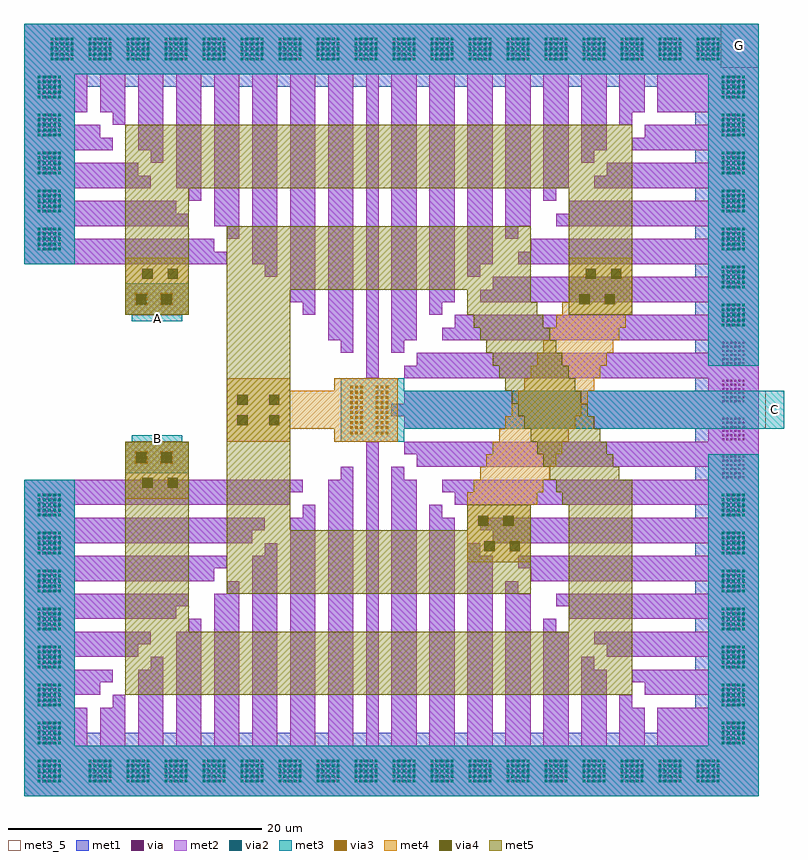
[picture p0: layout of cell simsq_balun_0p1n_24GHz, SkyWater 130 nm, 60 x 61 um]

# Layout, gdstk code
import gdstk
lib = gdstk.Library(unit=1e-6, precision=1e-09)
def R(c, l, rs):  # rectangles x0, y0, x1, y1
    for r in rs: c.add(gdstk.rectangle(r[:2], r[2:], *l))
def A(c, l, x, y, w, h, nx, ny, dx, dy):  # array of equal rectangles
    R(c, l, [(x+i*dx, y+j*dy, x+i*dx+w, y+j*dy+h) for i in range(nx) for j in range(ny)])
met1 = (68, 20)
via = (68, 44)
met2 = (69, 20)
via2 = (69, 44)
met3_5 = (70, 5)
met3 = (70, 20)
via3 = (70, 44)
met4 = (71, 20)
via4 = (71, 44)
met5 = (72, 20)

simsq_balun_0p1n_24ghz = lib.new_cell('simsq_balun_0p1n_24GHz')
A(simsq_balun_0p1n_24ghz, met1, -10, -7, 4, 1, 1, 6, 0, 3)
A(simsq_balun_0p1n_24ghz, met1, 43, -7, 5, 1, 1, 8, 0, 3)
A(simsq_balun_0p1n_24ghz, met1, 20, 13, 28, 1, 1, 4, 0, 2)
A(simsq_balun_0p1n_24ghz, met1, 43, 18, 5, 1, 1, 8, 0, 3)
A(simsq_balun_0p1n_24ghz, met1, -10, 30, 4, 1, 1, 4, 0, 3)
R(simsq_balun_0p1n_24ghz, met1, [(-10,-14,48,-9), (-10,-9,-5,-7), (-4,-9,-2,-7), (-1,-9,1,-4), (2,-9,4,-1), (5,-9,7,2), (8,-9,10,5), (11,-9,13,8), (14,-9,16,11), (17,-9,18,14), (19,-9,21,11), (22,-9,24,8), (25,-9,27,5), (28,-9,30,2), (31,-9,33,-1), (34,-9,36,-4), (37,-9,39,-7), (40,-9,48,-7), (-3,-7,-2,-6), (37,-7,38,-6), (-10,-6,-4,-5), (39,-6,48,-5), (-10,-5,-3,-4), (38,-5,48,-4), (0,-4,1,-3), (34,-4,35,-3), (-10,-3,-1,-2), (36,-3,48,-2), (-10,-2,0,-1), (35,-2,48,-1), (3,-1,4,0), (31,-1,32,0), (-10,0,2,1), (33,0,48,1), (-10,1,3,2), (32,1,48,2), (6,2,7,3), (28,2,29,3), (-10,3,5,4), (30,3,48,4), (-10,4,6,5), (29,4,48,5), (9,5,10,6), (25,5,26,6), (-10,6,8,7), (27,6,48,7), (-10,7,9,8), (26,7,48,8), (12,8,13,9), (22,8,23,9), (-10,9,11,10), (24,9,48,10), (-10,10,12,11), (23,10,48,11), (15,11,16,12), (19,11,20,12), (21,12,48,13), (19,16,48,17), (17,19,18,42), (21,20,48,21), (15,21,16,22), (19,21,20,22), (14,22,16,42), (19,22,21,42), (23,22,48,23), (24,23,48,24), (12,24,13,25), (22,24,23,25), (11,25,13,42), (22,25,24,42), (26,25,48,26), (27,26,48,27), (9,27,10,28), (25,27,26,28), (-10,28,6,29), (8,28,10,42), (25,28,27,42), (29,28,48,29), (-10,29,5,30), (30,29,48,30), (6,30,7,31), (28,30,29,31), (-10,31,3,32), (5,31,7,42), (28,31,30,42), (32,31,48,32), (-10,32,2,33), (33,32,48,33), (3,33,4,34), (31,33,32,34), (-10,34,0,35), (2,34,4,42), (31,34,33,42), (35,34,48,35), (-10,35,-1,36), (36,35,48,36), (0,36,1,37), (34,36,35,37), (-10,37,-3,38), (-1,37,1,42), (34,37,36,42), (38,37,48,38), (-10,38,-4,39), (39,38,48,39), (-3,39,-2,40), (37,39,38,40), (-10,40,-5,42), (-4,40,-2,42), (37,40,39,42), (40,40,48,42), (-10,42,48,47)])
A(simsq_balun_0p1n_24ghz, via, -8.875, -12.875, 0.15, 0.15, 6, 6, 0.32, 0.32)
A(simsq_balun_0p1n_24ghz, via, -4.875, -12.875, 0.15, 0.15, 6, 6, 0.32, 0.32)
A(simsq_balun_0p1n_24ghz, via, -1.875, -12.875, 0.15, 0.15, 6, 6, 0.32, 0.32)
A(simsq_balun_0p1n_24ghz, via, 1.125, -12.875, 0.15, 0.15, 6, 6, 0.32, 0.32)
A(simsq_balun_0p1n_24ghz, via, 4.125, -12.875, 0.15, 0.15, 6, 6, 0.32, 0.32)
A(simsq_balun_0p1n_24ghz, via, 7.125, -12.875, 0.15, 0.15, 6, 6, 0.32, 0.32)
A(simsq_balun_0p1n_24ghz, via, 10.125, -12.875, 0.15, 0.15, 6, 6, 0.32, 0.32)
A(simsq_balun_0p1n_24ghz, via, 13.125, -12.875, 0.15, 0.15, 6, 6, 0.32, 0.32)
A(simsq_balun_0p1n_24ghz, via, 16.125, -12.875, 0.15, 0.15, 6, 6, 0.32, 0.32)
A(simsq_balun_0p1n_24ghz, via, 19.125, -12.875, 0.15, 0.15, 6, 6, 0.32, 0.32)
A(simsq_balun_0p1n_24ghz, via, 22.125, -12.875, 0.15, 0.15, 6, 6, 0.32, 0.32)
A(simsq_balun_0p1n_24ghz, via, 25.125, -12.875, 0.15, 0.15, 6, 6, 0.32, 0.32)
A(simsq_balun_0p1n_24ghz, via, 28.125, -12.875, 0.15, 0.15, 6, 6, 0.32, 0.32)
A(simsq_balun_0p1n_24ghz, via, 31.125, -12.875, 0.15, 0.15, 6, 6, 0.32, 0.32)
A(simsq_balun_0p1n_24ghz, via, 34.125, -12.875, 0.15, 0.15, 6, 6, 0.32, 0.32)
A(simsq_balun_0p1n_24ghz, via, 37.125, -12.875, 0.15, 0.15, 6, 6, 0.32, 0.32)
A(simsq_balun_0p1n_24ghz, via, 40.125, -12.875, 0.15, 0.15, 6, 6, 0.32, 0.32)
A(simsq_balun_0p1n_24ghz, via, 43.125, -12.875, 0.15, 0.15, 6, 6, 0.32, 0.32)
A(simsq_balun_0p1n_24ghz, via, -8.875, -9.875, 0.15, 0.15, 6, 6, 0.32, 0.32)
A(simsq_balun_0p1n_24ghz, via, 45.125, -9.875, 0.15, 0.15, 6, 6, 0.32, 0.32)
A(simsq_balun_0p1n_24ghz, via, -8.875, -6.875, 0.15, 0.15, 6, 6, 0.32, 0.32)
A(simsq_balun_0p1n_24ghz, via, 45.125, -6.875, 0.15, 0.15, 6, 6, 0.32, 0.32)
A(simsq_balun_0p1n_24ghz, via, -8.875, -3.875, 0.15, 0.15, 6, 6, 0.32, 0.32)
A(simsq_balun_0p1n_24ghz, via, 45.125, -3.875, 0.15, 0.15, 6, 6, 0.32, 0.32)
A(simsq_balun_0p1n_24ghz, via, -8.875, -0.875, 0.15, 0.15, 6, 6, 0.32, 0.32)
A(simsq_balun_0p1n_24ghz, via, 45.125, -0.875, 0.15, 0.15, 6, 6, 0.32, 0.32)
A(simsq_balun_0p1n_24ghz, via, -8.875, 2.125, 0.15, 0.15, 6, 6, 0.32, 0.32)
A(simsq_balun_0p1n_24ghz, via, 45.125, 2.125, 0.15, 0.15, 6, 6, 0.32, 0.32)
A(simsq_balun_0p1n_24ghz, via, -8.875, 5.125, 0.15, 0.15, 6, 6, 0.32, 0.32)
A(simsq_balun_0p1n_24ghz, via, 45.125, 5.125, 0.15, 0.15, 6, 6, 0.32, 0.32)
A(simsq_balun_0p1n_24ghz, via, -8.875, 8.125, 0.15, 0.15, 6, 6, 0.32, 0.32)
A(simsq_balun_0p1n_24ghz, via, 45.125, 8.125, 0.15, 0.15, 6, 6, 0.32, 0.32)
A(simsq_balun_0p1n_24ghz, via, 45.125, 11.125, 0.15, 0.15, 6, 6, 0.32, 0.32)
A(simsq_balun_0p1n_24ghz, via, 45.125, 14.125, 0.15, 0.15, 6, 6, 0.32, 0.32)
A(simsq_balun_0p1n_24ghz, via, 45.125, 17.125, 0.15, 0.15, 6, 6, 0.32, 0.32)
A(simsq_balun_0p1n_24ghz, via, 45.125, 20.125, 0.15, 0.15, 6, 6, 0.32, 0.32)
A(simsq_balun_0p1n_24ghz, via, 45.125, 23.125, 0.15, 0.15, 6, 6, 0.32, 0.32)
A(simsq_balun_0p1n_24ghz, via, 45.125, 26.125, 0.15, 0.15, 6, 6, 0.32, 0.32)
A(simsq_balun_0p1n_24ghz, via, -8.875, 29.125, 0.15, 0.15, 6, 6, 0.32, 0.32)
A(simsq_balun_0p1n_24ghz, via, 45.125, 29.125, 0.15, 0.15, 6, 6, 0.32, 0.32)
A(simsq_balun_0p1n_24ghz, via, -8.875, 32.125, 0.15, 0.15, 6, 6, 0.32, 0.32)
A(simsq_balun_0p1n_24ghz, via, 45.125, 32.125, 0.15, 0.15, 6, 6, 0.32, 0.32)
A(simsq_balun_0p1n_24ghz, via, -8.875, 35.125, 0.15, 0.15, 6, 6, 0.32, 0.32)
A(simsq_balun_0p1n_24ghz, via, 45.125, 35.125, 0.15, 0.15, 6, 6, 0.32, 0.32)
A(simsq_balun_0p1n_24ghz, via, -8.875, 38.125, 0.15, 0.15, 6, 6, 0.32, 0.32)
A(simsq_balun_0p1n_24ghz, via, 45.125, 38.125, 0.15, 0.15, 6, 6, 0.32, 0.32)
A(simsq_balun_0p1n_24ghz, via, -8.875, 41.125, 0.15, 0.15, 6, 6, 0.32, 0.32)
A(simsq_balun_0p1n_24ghz, via, 45.125, 41.125, 0.15, 0.15, 6, 6, 0.32, 0.32)
A(simsq_balun_0p1n_24ghz, via, -7.875, 44.125, 0.15, 0.15, 6, 6, 0.32, 0.32)
A(simsq_balun_0p1n_24ghz, via, -4.875, 44.125, 0.15, 0.15, 6, 6, 0.32, 0.32)
A(simsq_balun_0p1n_24ghz, via, -1.875, 44.125, 0.15, 0.15, 6, 6, 0.32, 0.32)
A(simsq_balun_0p1n_24ghz, via, 1.125, 44.125, 0.15, 0.15, 6, 6, 0.32, 0.32)
A(simsq_balun_0p1n_24ghz, via, 4.125, 44.125, 0.15, 0.15, 6, 6, 0.32, 0.32)
A(simsq_balun_0p1n_24ghz, via, 7.125, 44.125, 0.15, 0.15, 6, 6, 0.32, 0.32)
A(simsq_balun_0p1n_24ghz, via, 10.125, 44.125, 0.15, 0.15, 6, 6, 0.32, 0.32)
A(simsq_balun_0p1n_24ghz, via, 13.125, 44.125, 0.15, 0.15, 6, 6, 0.32, 0.32)
A(simsq_balun_0p1n_24ghz, via, 16.125, 44.125, 0.15, 0.15, 6, 6, 0.32, 0.32)
A(simsq_balun_0p1n_24ghz, via, 19.125, 44.125, 0.15, 0.15, 6, 6, 0.32, 0.32)
A(simsq_balun_0p1n_24ghz, via, 22.125, 44.125, 0.15, 0.15, 6, 6, 0.32, 0.32)
A(simsq_balun_0p1n_24ghz, via, 25.125, 44.125, 0.15, 0.15, 6, 6, 0.32, 0.32)
A(simsq_balun_0p1n_24ghz, via, 28.125, 44.125, 0.15, 0.15, 6, 6, 0.32, 0.32)
A(simsq_balun_0p1n_24ghz, via, 31.125, 44.125, 0.15, 0.15, 6, 6, 0.32, 0.32)
A(simsq_balun_0p1n_24ghz, via, 34.125, 44.125, 0.15, 0.15, 6, 6, 0.32, 0.32)
A(simsq_balun_0p1n_24ghz, via, 37.125, 44.125, 0.15, 0.15, 6, 6, 0.32, 0.32)
A(simsq_balun_0p1n_24ghz, via, 40.125, 44.125, 0.15, 0.15, 6, 6, 0.32, 0.32)
A(simsq_balun_0p1n_24ghz, via, 43.125, 44.125, 0.15, 0.15, 6, 6, 0.32, 0.32)
A(simsq_balun_0p1n_24ghz, met2, -10, -7, 4, 1, 1, 6, 0, 3)
A(simsq_balun_0p1n_24ghz, met2, 44, -7, 4, 1, 1, 8, 0, 3)
A(simsq_balun_0p1n_24ghz, met2, 20, 13, 28, 1, 1, 4, 0, 2)
A(simsq_balun_0p1n_24ghz, met2, 44, 18, 4, 1, 1, 8, 0, 3)
A(simsq_balun_0p1n_24ghz, met2, -10, 30, 4, 1, 1, 4, 0, 3)
R(simsq_balun_0p1n_24ghz, met2, [(-10,-14,48,-10), (-10,-10,-5,-7), (-4,-10,-2,-7), (-1,-10,1,-4), (2,-10,4,-1), (5,-10,7,2), (8,-10,10,5), (11,-10,13,8), (14,-10,16,11), (17,-10,18,14), (19,-10,21,11), (22,-10,24,8), (25,-10,27,5), (28,-10,30,2), (31,-10,33,-1), (34,-10,36,-4), (37,-10,39,-7), (40,-10,48,-7), (-3,-7,-2,-6), (37,-7,38,-6), (-10,-6,-4,-5), (39,-6,48,-5), (-10,-5,-3,-4), (38,-5,48,-4), (0,-4,1,-3), (34,-4,35,-3), (-10,-3,-1,-2), (36,-3,48,-2), (-10,-2,0,-1), (35,-2,48,-1), (3,-1,4,0), (31,-1,32,0), (-10,0,2,1), (33,0,48,1), (-10,1,3,2), (32,1,48,2), (6,2,7,3), (28,2,29,3), (-10,3,5,4), (30,3,48,4), (-10,4,6,5), (29,4,48,5), (9,5,10,6), (25,5,26,6), (-10,6,8,7), (27,6,48,7), (-10,7,9,8), (26,7,48,8), (12,8,13,9), (22,8,23,9), (-10,9,11,10), (24,9,48,10), (-10,10,12,11), (23,10,48,11), (15,11,16,12), (19,11,20,12), (21,12,48,13), (19,16,48,17), (17,19,18,43), (21,20,48,21), (15,21,16,22), (19,21,20,22), (14,22,16,43), (19,22,21,43), (23,22,48,23), (24,23,48,24), (12,24,13,25), (22,24,23,25), (11,25,13,43), (22,25,24,43), (26,25,48,26), (27,26,48,27), (9,27,10,28), (25,27,26,28), (-10,28,6,29), (8,28,10,43), (25,28,27,43), (29,28,48,29), (-10,29,5,30), (30,29,48,30), (6,30,7,31), (28,30,29,31), (-10,31,3,32), (5,31,7,43), (28,31,30,43), (32,31,48,32), (-10,32,2,33), (33,32,48,33), (3,33,4,34), (31,33,32,34), (-10,34,0,35), (2,34,4,43), (31,34,33,43), (35,34,48,35), (-10,35,-1,36), (36,35,48,36), (0,36,1,37), (34,36,35,37), (-10,37,-3,38), (-1,37,1,43), (34,37,36,43), (38,37,48,38), (-10,38,-4,39), (39,38,48,39), (-3,39,-2,40), (37,39,38,40), (-10,40,-5,43), (-4,40,-2,43), (37,40,39,43), (40,40,48,43), (-10,43,48,47)])
A(simsq_balun_0p1n_24ghz, via2, -8.9, -12.9, 0.2, 0.2, 5, 5, 0.4, 0.4)
A(simsq_balun_0p1n_24ghz, via2, -4.9, -12.9, 0.2, 0.2, 5, 5, 0.4, 0.4)
A(simsq_balun_0p1n_24ghz, via2, -1.9, -12.9, 0.2, 0.2, 5, 5, 0.4, 0.4)
A(simsq_balun_0p1n_24ghz, via2, 1.1, -12.9, 0.2, 0.2, 5, 5, 0.4, 0.4)
A(simsq_balun_0p1n_24ghz, via2, 4.1, -12.9, 0.2, 0.2, 5, 5, 0.4, 0.4)
A(simsq_balun_0p1n_24ghz, via2, 7.1, -12.9, 0.2, 0.2, 5, 5, 0.4, 0.4)
A(simsq_balun_0p1n_24ghz, via2, 10.1, -12.9, 0.2, 0.2, 5, 5, 0.4, 0.4)
A(simsq_balun_0p1n_24ghz, via2, 13.1, -12.9, 0.2, 0.2, 5, 5, 0.4, 0.4)
A(simsq_balun_0p1n_24ghz, via2, 16.1, -12.9, 0.2, 0.2, 5, 5, 0.4, 0.4)
A(simsq_balun_0p1n_24ghz, via2, 19.1, -12.9, 0.2, 0.2, 5, 5, 0.4, 0.4)
A(simsq_balun_0p1n_24ghz, via2, 22.1, -12.9, 0.2, 0.2, 5, 5, 0.4, 0.4)
A(simsq_balun_0p1n_24ghz, via2, 25.1, -12.9, 0.2, 0.2, 5, 5, 0.4, 0.4)
A(simsq_balun_0p1n_24ghz, via2, 28.1, -12.9, 0.2, 0.2, 5, 5, 0.4, 0.4)
A(simsq_balun_0p1n_24ghz, via2, 31.1, -12.9, 0.2, 0.2, 5, 5, 0.4, 0.4)
A(simsq_balun_0p1n_24ghz, via2, 34.1, -12.9, 0.2, 0.2, 5, 5, 0.4, 0.4)
A(simsq_balun_0p1n_24ghz, via2, 37.1, -12.9, 0.2, 0.2, 5, 5, 0.4, 0.4)
A(simsq_balun_0p1n_24ghz, via2, 40.1, -12.9, 0.2, 0.2, 5, 5, 0.4, 0.4)
A(simsq_balun_0p1n_24ghz, via2, 43.1, -12.9, 0.2, 0.2, 5, 5, 0.4, 0.4)
A(simsq_balun_0p1n_24ghz, via2, -8.9, -9.9, 0.2, 0.2, 5, 5, 0.4, 0.4)
A(simsq_balun_0p1n_24ghz, via2, 45.1, -9.9, 0.2, 0.2, 5, 5, 0.4, 0.4)
A(simsq_balun_0p1n_24ghz, via2, -8.9, -6.9, 0.2, 0.2, 5, 5, 0.4, 0.4)
A(simsq_balun_0p1n_24ghz, via2, 45.1, -6.9, 0.2, 0.2, 5, 5, 0.4, 0.4)
A(simsq_balun_0p1n_24ghz, via2, -8.9, -3.9, 0.2, 0.2, 5, 5, 0.4, 0.4)
A(simsq_balun_0p1n_24ghz, via2, 45.1, -3.9, 0.2, 0.2, 5, 5, 0.4, 0.4)
A(simsq_balun_0p1n_24ghz, via2, -8.9, -0.9, 0.2, 0.2, 5, 5, 0.4, 0.4)
A(simsq_balun_0p1n_24ghz, via2, 45.1, -0.9, 0.2, 0.2, 5, 5, 0.4, 0.4)
A(simsq_balun_0p1n_24ghz, via2, -8.9, 2.1, 0.2, 0.2, 5, 5, 0.4, 0.4)
A(simsq_balun_0p1n_24ghz, via2, 45.1, 2.1, 0.2, 0.2, 5, 5, 0.4, 0.4)
A(simsq_balun_0p1n_24ghz, via2, -8.9, 5.1, 0.2, 0.2, 5, 5, 0.4, 0.4)
A(simsq_balun_0p1n_24ghz, via2, 45.1, 5.1, 0.2, 0.2, 5, 5, 0.4, 0.4)
A(simsq_balun_0p1n_24ghz, via2, -8.9, 8.1, 0.2, 0.2, 5, 5, 0.4, 0.4)
A(simsq_balun_0p1n_24ghz, via2, 45.1, 8.1, 0.2, 0.2, 5, 5, 0.4, 0.4)
A(simsq_balun_0p1n_24ghz, via2, 45.1, 23.1, 0.2, 0.2, 5, 5, 0.4, 0.4)
A(simsq_balun_0p1n_24ghz, via2, 45.1, 26.1, 0.2, 0.2, 5, 5, 0.4, 0.4)
A(simsq_balun_0p1n_24ghz, via2, -8.9, 29.1, 0.2, 0.2, 5, 5, 0.4, 0.4)
A(simsq_balun_0p1n_24ghz, via2, 45.1, 29.1, 0.2, 0.2, 5, 5, 0.4, 0.4)
A(simsq_balun_0p1n_24ghz, via2, -8.9, 32.1, 0.2, 0.2, 5, 5, 0.4, 0.4)
A(simsq_balun_0p1n_24ghz, via2, 45.1, 32.1, 0.2, 0.2, 5, 5, 0.4, 0.4)
A(simsq_balun_0p1n_24ghz, via2, -8.9, 35.1, 0.2, 0.2, 5, 5, 0.4, 0.4)
A(simsq_balun_0p1n_24ghz, via2, 45.1, 35.1, 0.2, 0.2, 5, 5, 0.4, 0.4)
A(simsq_balun_0p1n_24ghz, via2, -8.9, 38.1, 0.2, 0.2, 5, 5, 0.4, 0.4)
A(simsq_balun_0p1n_24ghz, via2, 45.1, 38.1, 0.2, 0.2, 5, 5, 0.4, 0.4)
A(simsq_balun_0p1n_24ghz, via2, -8.9, 41.1, 0.2, 0.2, 5, 5, 0.4, 0.4)
A(simsq_balun_0p1n_24ghz, via2, 45.1, 41.1, 0.2, 0.2, 5, 5, 0.4, 0.4)
A(simsq_balun_0p1n_24ghz, via2, -7.9, 44.1, 0.2, 0.2, 5, 5, 0.4, 0.4)
A(simsq_balun_0p1n_24ghz, via2, -4.9, 44.1, 0.2, 0.2, 5, 5, 0.4, 0.4)
A(simsq_balun_0p1n_24ghz, via2, -1.9, 44.1, 0.2, 0.2, 5, 5, 0.4, 0.4)
A(simsq_balun_0p1n_24ghz, via2, 1.1, 44.1, 0.2, 0.2, 5, 5, 0.4, 0.4)
A(simsq_balun_0p1n_24ghz, via2, 4.1, 44.1, 0.2, 0.2, 5, 5, 0.4, 0.4)
A(simsq_balun_0p1n_24ghz, via2, 7.1, 44.1, 0.2, 0.2, 5, 5, 0.4, 0.4)
A(simsq_balun_0p1n_24ghz, via2, 10.1, 44.1, 0.2, 0.2, 5, 5, 0.4, 0.4)
A(simsq_balun_0p1n_24ghz, via2, 13.1, 44.1, 0.2, 0.2, 5, 5, 0.4, 0.4)
A(simsq_balun_0p1n_24ghz, via2, 16.1, 44.1, 0.2, 0.2, 5, 5, 0.4, 0.4)
A(simsq_balun_0p1n_24ghz, via2, 19.1, 44.1, 0.2, 0.2, 5, 5, 0.4, 0.4)
A(simsq_balun_0p1n_24ghz, via2, 22.1, 44.1, 0.2, 0.2, 5, 5, 0.4, 0.4)
A(simsq_balun_0p1n_24ghz, via2, 25.1, 44.1, 0.2, 0.2, 5, 5, 0.4, 0.4)
A(simsq_balun_0p1n_24ghz, via2, 28.1, 44.1, 0.2, 0.2, 5, 5, 0.4, 0.4)
A(simsq_balun_0p1n_24ghz, via2, 31.1, 44.1, 0.2, 0.2, 5, 5, 0.4, 0.4)
A(simsq_balun_0p1n_24ghz, via2, 34.1, 44.1, 0.2, 0.2, 5, 5, 0.4, 0.4)
A(simsq_balun_0p1n_24ghz, via2, 37.1, 44.1, 0.2, 0.2, 5, 5, 0.4, 0.4)
A(simsq_balun_0p1n_24ghz, via2, 40.1, 44.1, 0.2, 0.2, 5, 5, 0.4, 0.4)
A(simsq_balun_0p1n_24ghz, via2, 43.1, 44.1, 0.2, 0.2, 5, 5, 0.4, 0.4)
R(simsq_balun_0p1n_24ghz, met3_5, [(-1.5,14,2.5,14.5), (48.5,15,50,18), (-1.5,23.5,2.5,24), (45,43.5,48,47)])
R(simsq_balun_0p1n_24ghz, met3, [(-10,-14,48,-10), (-10,-10,-6,11), (44,-10,48,13), (-2,11.5,3,14), (-1.5,14,2.5,14.5), (15,14,20,15), (15,15,50,18), (15,18,20,19), (44,20,48,43), (-1.5,23.5,2.5,24), (-2,24,3,26.5), (-10,28,-6,43), (-10,43,48,47)])
A(simsq_balun_0p1n_24ghz, via3, -1.25, 12.25, 0.2, 0.2, 3, 3, 0.4, 0.4)
A(simsq_balun_0p1n_24ghz, via3, 0.75, 12.25, 0.2, 0.2, 3, 3, 0.4, 0.4)
A(simsq_balun_0p1n_24ghz, via3, 15.75, 14.6, 0.2, 0.2, 3, 10, 0.4, 0.4)
A(simsq_balun_0p1n_24ghz, via3, 17.75, 14.6, 0.2, 0.2, 3, 10, 0.4, 0.4)
A(simsq_balun_0p1n_24ghz, via3, -1.25, 24.75, 0.2, 0.2, 3, 3, 0.4, 0.4)
A(simsq_balun_0p1n_24ghz, via3, 0.75, 24.75, 0.2, 0.2, 3, 3, 0.4, 0.4)
R(simsq_balun_0p1n_24ghz, met4, [(25,4.5,30,9), (25,9,30.5,10), (-2,9.5,3,14), (25.5,10,31,11), (26,11,31.5,12), (26.5,12,32,13), (27,13,32.5,14), (6,14,11,15), (14.5,14,19.5,15), (27.5,14,33,15), (6,15,19.5,18), (28,15,33.5,16), (28.5,16,34,17), (29,17,34.5,18), (6,18,11,19), (14.5,18,19.5,19), (29.5,18,35,19), (30,19,35.5,20), (30.5,20,36,21), (31,21,36.5,22), (31.5,22,37,23), (32,23,37.5,24), (-2,24,3,28.5), (32.5,24,38,25), (33,25,38,28.5)])
R(simsq_balun_0p1n_24ghz, via4, [(26.35,5.35,27.15,6.15), (28.35,5.35,29.15,6.15), (25.85,7.35,26.65,8.15), (27.85,7.35,28.65,8.15), (-0.65,10.35,0.15,11.15), (1.35,10.35,2.15,11.15), (-1.15,12.35,-0.35,13.15), (0.85,12.35,1.65,13.15), (6.85,15.3,7.65,16.1), (9.35,15.3,10.15,16.1), (6.85,16.9,7.65,17.7), (9.35,16.9,10.15,17.7), (-1.15,24.85,-0.35,25.65), (0.85,24.85,1.65,25.65), (33.85,24.85,34.65,25.65), (35.85,24.85,36.65,25.65), (-0.65,26.85,0.15,27.65), (1.35,26.85,2.15,27.65), (34.35,26.85,35.15,27.65), (36.35,26.85,37.15,27.65)])
R(simsq_balun_0p1n_24ghz, met5, [(-2,-6,38,-1), (-2,-1,3,14), (33,-1,38,9), (6,2,30,7), (6,7,11,26), (25,7,30,9), (32.5,9,38,10), (32,10,38,11), (31.5,11,37,12), (31,12,36.5,13), (30.5,13,36,14), (30,14,35.5,15), (29.5,15,35,16), (29,16,34.5,17), (28.5,17,34,18), (28,18,33.5,19), (27.5,19,33,20), (27,20,32.5,21), (26.5,21,32,22), (26,22,31.5,23), (25.5,23,31,24), (-2,24,3,34), (25,24,30.5,25), (33,24,38,34), (25,25,30,26), (6,26,30,31), (-2,34,38,39)])
simsq_balun_0p1n_24ghz.add(gdstk.Label('A', (0.5,23.75), layer=70, texttype=5))
simsq_balun_0p1n_24ghz.add(gdstk.Label('B', (0.5,14.25), layer=70, texttype=5))
simsq_balun_0p1n_24ghz.add(gdstk.Label('C', (49.25,16.5), layer=70, texttype=5))
simsq_balun_0p1n_24ghz.add(gdstk.Label('G', (46.5,45.25), layer=70, texttype=5))

lib.write_gds('simsq_balun_0p1n_24GHz.gds')
